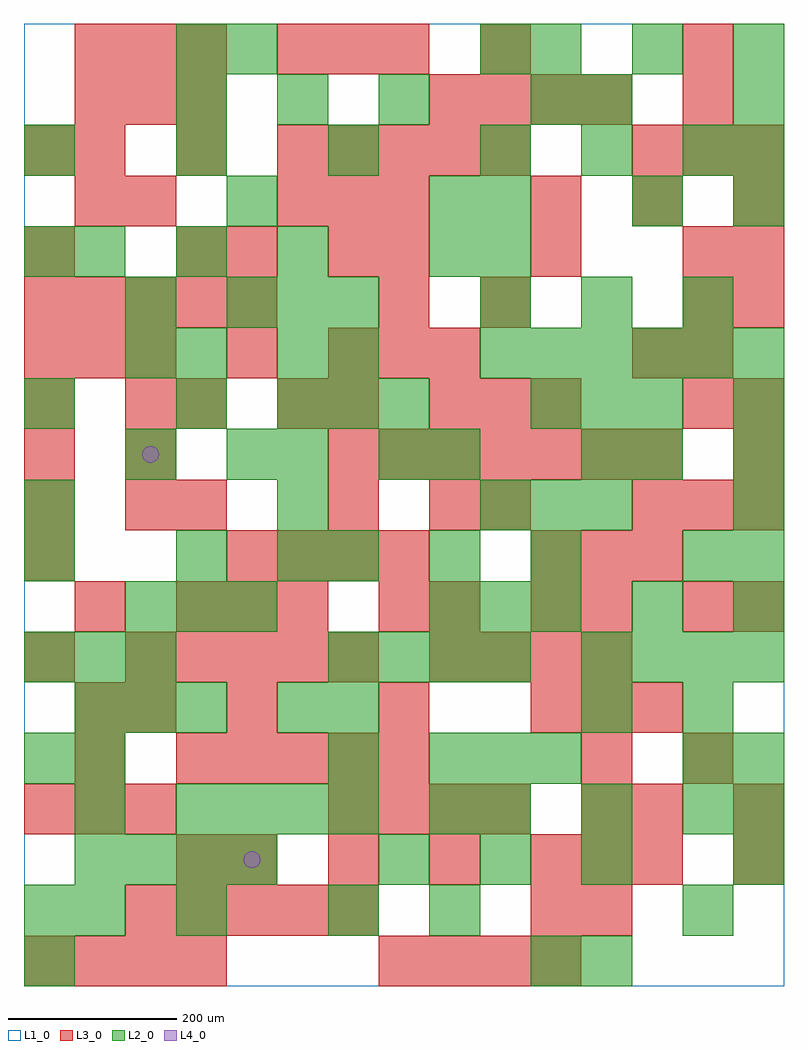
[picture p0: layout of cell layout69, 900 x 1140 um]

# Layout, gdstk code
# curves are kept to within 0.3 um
import gdstk
lib = gdstk.Library(unit=1e-6, precision=1e-09)
def R(c, l, rs):  # rectangles x0, y0, x1, y1
    for r in rs: c.add(gdstk.rectangle(r[:2], r[2:], *l))
def A(c, l, x, y, w, h, nx, ny, dx, dy):  # array of equal rectangles
    R(c, l, [(x+i*dx, y+j*dy, x+i*dx+w, y+j*dy+h) for i in range(nx) for j in range(ny)])
def P(c, l, *ps):  # polygons
    for p in ps: c.add(gdstk.Polygon(p, *l))
L1_0 = (1, 0)
L2_0 = (2, 0)
L3_0 = (3, 0)
L4_0 = (4, 0)

layout69 = lib.new_cell('layout69')
R(layout69, L1_0, [(0,0,900,1140)])
A(layout69, L2_0, 660, 0, 60, 60, 1, 3, 0, 300)
A(layout69, L2_0, 60, 120, 60, 60, 4, 1, 60, 0)
A(layout69, L2_0, 420, 120, 60, 60, 3, 1, 120, 0)
A(layout69, L2_0, 840, 120, 60, 60, 1, 3, 0, 60)
A(layout69, L2_0, 180, 180, 60, 60, 4, 1, 60, 0)
A(layout69, L2_0, 540, 180, 60, 60, 3, 2, 120, 600)
A(layout69, L2_0, 480, 240, 60, 60, 3, 2, 60, 180)
A(layout69, L2_0, 60, 300, 60, 60, 3, 1, 60, 0)
A(layout69, L2_0, 0, 360, 60, 60, 3, 1, 60, 0)
A(layout69, L2_0, 360, 360, 60, 60, 4, 1, 60, 0)
A(layout69, L2_0, 660, 360, 60, 60, 4, 1, 60, 0)
A(layout69, L2_0, 120, 420, 60, 60, 3, 1, 60, 0)
A(layout69, L2_0, 840, 420, 60, 60, 1, 5, 0, 60)
A(layout69, L2_0, 300, 480, 60, 60, 1, 3, 0, 60)
A(layout69, L2_0, 360, 480, 60, 60, 3, 1, 120, 0)
A(layout69, L2_0, 540, 540, 60, 60, 3, 1, 60, 0)
A(layout69, L2_0, 300, 660, 60, 60, 3, 1, 60, 0)
A(layout69, L2_0, 600, 660, 60, 60, 3, 1, 60, 0)
A(layout69, L2_0, 540, 720, 60, 60, 6, 1, 60, 0)
A(layout69, L2_0, 240, 780, 60, 60, 3, 1, 60, 0)
A(layout69, L2_0, 60, 840, 60, 60, 3, 1, 120, 0)
A(layout69, L2_0, 840, 900, 60, 60, 1, 3, 0, 60)
A(layout69, L2_0, 0, 960, 60, 60, 4, 1, 180, 0)
A(layout69, L2_0, 180, 1020, 60, 60, 3, 1, 120, 0)
A(layout69, L2_0, 600, 1080, 60, 60, 3, 1, 120, 0)
R(layout69, L2_0, [(0,0,60,60), (600,0,660,60), (0,60,60,120), (60,60,120,120), (180,60,240,120), (360,60,420,120), (480,60,540,120), (780,60,840,120), (60,180,120,240), (480,180,540,240), (0,240,60,300), (60,240,120,300), (360,240,420,300), (780,240,840,300), (300,300,360,360), (360,300,420,360), (780,300,840,360), (720,420,780,480), (0,480,60,540), (180,480,240,540), (780,480,840,540), (0,540,60,600), (120,600,180,660), (240,600,300,660), (420,600,480,660), (480,600,540,660), (720,600,780,660), (0,660,60,720), (180,660,240,720), (120,720,180,780), (180,720,240,780), (300,720,360,780), (360,720,420,780), (120,780,180,840), (0,840,60,900), (480,840,540,900), (540,840,600,900), (240,900,300,960), (480,900,540,960), (540,900,600,960), (720,900,780,960), (660,960,720,1020), (780,960,840,1020), (600,1020,660,1080), (660,1020,720,1080), (180,1080,240,1140), (240,1080,300,1140), (540,1080,600,1140)])
A(layout69, L3_0, 0, 0, 60, 60, 4, 1, 60, 0)
A(layout69, L3_0, 420, 0, 60, 60, 4, 1, 60, 0)
A(layout69, L3_0, 120, 60, 60, 60, 5, 2, 60, 300)
A(layout69, L3_0, 660, 60, 60, 60, 1, 5, 0, 60)
A(layout69, L3_0, 240, 120, 60, 60, 4, 1, 120, 0)
A(layout69, L3_0, 0, 180, 60, 60, 3, 2, 60, 540)
A(layout69, L3_0, 360, 180, 60, 60, 4, 2, 60, 780)
A(layout69, L3_0, 180, 240, 60, 60, 5, 1, 60, 0)
A(layout69, L3_0, 240, 300, 60, 60, 3, 1, 180, 0)
A(layout69, L3_0, 480, 360, 60, 60, 4, 2, 60, 660)
A(layout69, L3_0, 180, 420, 60, 60, 3, 1, 60, 0)
A(layout69, L3_0, 0, 480, 60, 60, 1, 4, 0, 60)
A(layout69, L3_0, 240, 480, 60, 60, 4, 1, 60, 0)
A(layout69, L3_0, 600, 480, 60, 60, 3, 1, 60, 0)
A(layout69, L3_0, 120, 540, 60, 60, 1, 3, 0, 60)
A(layout69, L3_0, 720, 540, 60, 60, 3, 2, 60, 420)
A(layout69, L3_0, 360, 600, 60, 60, 7, 1, 60, 0)
A(layout69, L3_0, 480, 660, 60, 60, 3, 1, 60, 0)
A(layout69, L3_0, 780, 660, 60, 60, 1, 3, 0, 60)
A(layout69, L3_0, 360, 720, 60, 60, 3, 1, 60, 0)
A(layout69, L3_0, 0, 780, 60, 60, 5, 1, 60, 0)
A(layout69, L3_0, 420, 840, 60, 60, 3, 1, 180, 0)
A(layout69, L3_0, 300, 900, 60, 60, 3, 2, 60, 180)
A(layout69, L3_0, 600, 900, 60, 60, 3, 1, 120, 0)
A(layout69, L3_0, 60, 960, 60, 60, 3, 1, 120, 0)
A(layout69, L3_0, 60, 1020, 60, 60, 3, 2, 60, 60)
R(layout69, L3_0, [(600,60,660,120), (180,120,240,180), (720,120,780,180), (840,120,900,180), (720,180,780,240), (840,180,900,240), (60,240,120,300), (780,240,840,300), (60,300,120,360), (120,300,180,360), (720,300,780,360), (0,360,60,420), (60,420,120,480), (420,420,480,480), (480,420,540,480), (600,420,660,480), (660,420,720,480), (780,420,840,480), (840,420,900,480), (180,540,240,600), (360,540,420,600), (480,540,540,600), (540,540,600,600), (840,600,900,660), (180,660,240,720), (300,660,360,720), (360,660,420,720), (840,660,900,720), (240,720,300,780), (720,720,780,780), (420,780,480,840), (540,780,600,840), (840,780,900,840), (0,840,60,900), (180,840,240,900), (240,840,300,900), (360,840,420,900), (840,840,900,900), (60,900,120,960), (120,900,180,960), (0,960,60,1020), (780,1020,840,1080), (540,1080,600,1140), (780,1080,840,1140)])
P(layout69, L4_0, [(160,630),(159.239,633.827),(157.071,637.071),(153.827,639.239),(150,640),(146.173,639.239),(142.929,637.071),(140.761,633.827),(140,630),(140.761,626.173),(142.929,622.929),(146.173,620.761),(150,620),(153.827,620.761),(157.071,622.929),(159.239,626.173)],
  [(280,150),(279.239,153.827),(277.071,157.071),(273.827,159.239),(270,160),(266.173,159.239),(262.929,157.071),(260.761,153.827),(260,150),(260.761,146.173),(262.929,142.929),(266.173,140.761),(270,140),(273.827,140.761),(277.071,142.929),(279.239,146.173)])

lib.write_gds('layout69.gds')
